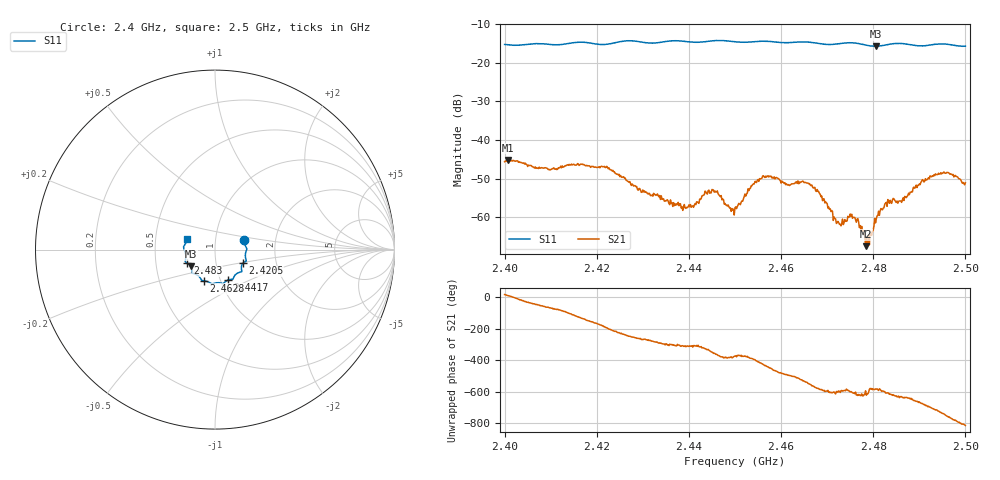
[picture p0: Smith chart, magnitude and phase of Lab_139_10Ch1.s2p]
# Hz S RI R 50
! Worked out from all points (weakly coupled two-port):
!   601 points, 2.4 GHz to 2.5 GHz, reference 50 ohm
!   highest |S21| = -45.16 dB at 2.4007 GHz (marker M1); lowest = -67.5 dB at 2.4783 GHz (marker M2)
!   lowest |S11| = -15.7 dB at 2.4805 GHz (marker M3), VSWR 1.39, Z = 37.5 - j7.1 ohm
!   |S11| at or under -10 dB: start of sweep to end of sweep
!   S12 and S22 are empty: the file has one direction only
!   S11 on the Smith chart (normalised r, x): 2.4 GHz: 1.38, +0.16; 2.4205 GHz: 1.35, -0.21; 2.4417 GHz: 1.08, -0.38; 2.4628 GHz: 0.83, -0.30; 2.483 GHz: 0.73, -0.11; 2.5 GHz: 0.73, +0.09
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2.4e9  0.1638 0.0559  0.00498 0.00155  0 0  0 0
2.400667e9  0.1638 0.0498  0.00542 0.00104  0 0  0 0
2.409833e9  0.1727 -0.0108  0.00161 -0.00375  0 0  0 0
2.416667e9  0.174 -0.0634  -0.00329 -0.00355  0 0  0 0
2.4205e9  0.1554 -0.0766  -0.00446 -0.000649  0 0  0 0
2.433333e9  0.1073 -0.1476  0.000616 0.00179  0 0  0 0
2.438833e9  0.0937 -0.1656  0.000885 0.00102  0 0  0 0
2.441667e9  0.0719 -0.17  0.000916 0.00129  0 0  0 0
2.4455e9  0.0488 -0.1873  0.0021 0.000203  0 0  0 0
2.45e9  0.029 -0.1853  0.00129 -0.000278  0 0  0 0
2.455833e9  -0.0142 -0.1901  0.00154 -0.0028  0 0  0 0
2.462833e9  -0.0627 -0.1733  -0.00215 -0.00166  0 0  0 0
2.466667e9  -0.0772 -0.1667  -0.00243 0.000953  0 0  0 0
2.4725e9  -0.1143 -0.1343  -0.000506 0.000683  0 0  0 0
2.4755e9  -0.1269 -0.1299  -0.000402 0.00088  0 0  0 0
2.478333e9  -0.1272 -0.1128  -0.000253 0.000336  0 0  0 0
2.479167e9  -0.129 -0.105  -0.000316 0.000302  0 0  0 0
2.4805e9  -0.1354 -0.0921  -0.000637 0.000553  0 0  0 0
2.483e9  -0.1543 -0.0751  -0.000568 0.00126  0 0  0 0
2.483333e9  -0.1566 -0.0738  -0.000609 0.00149  0 0  0 0
2.493667e9  -0.1743 0.00715  0.00353 0.000433  0 0  0 0
2.5e9  -0.1538 0.0575  -0.000127 -0.00278  0 0  0 0
